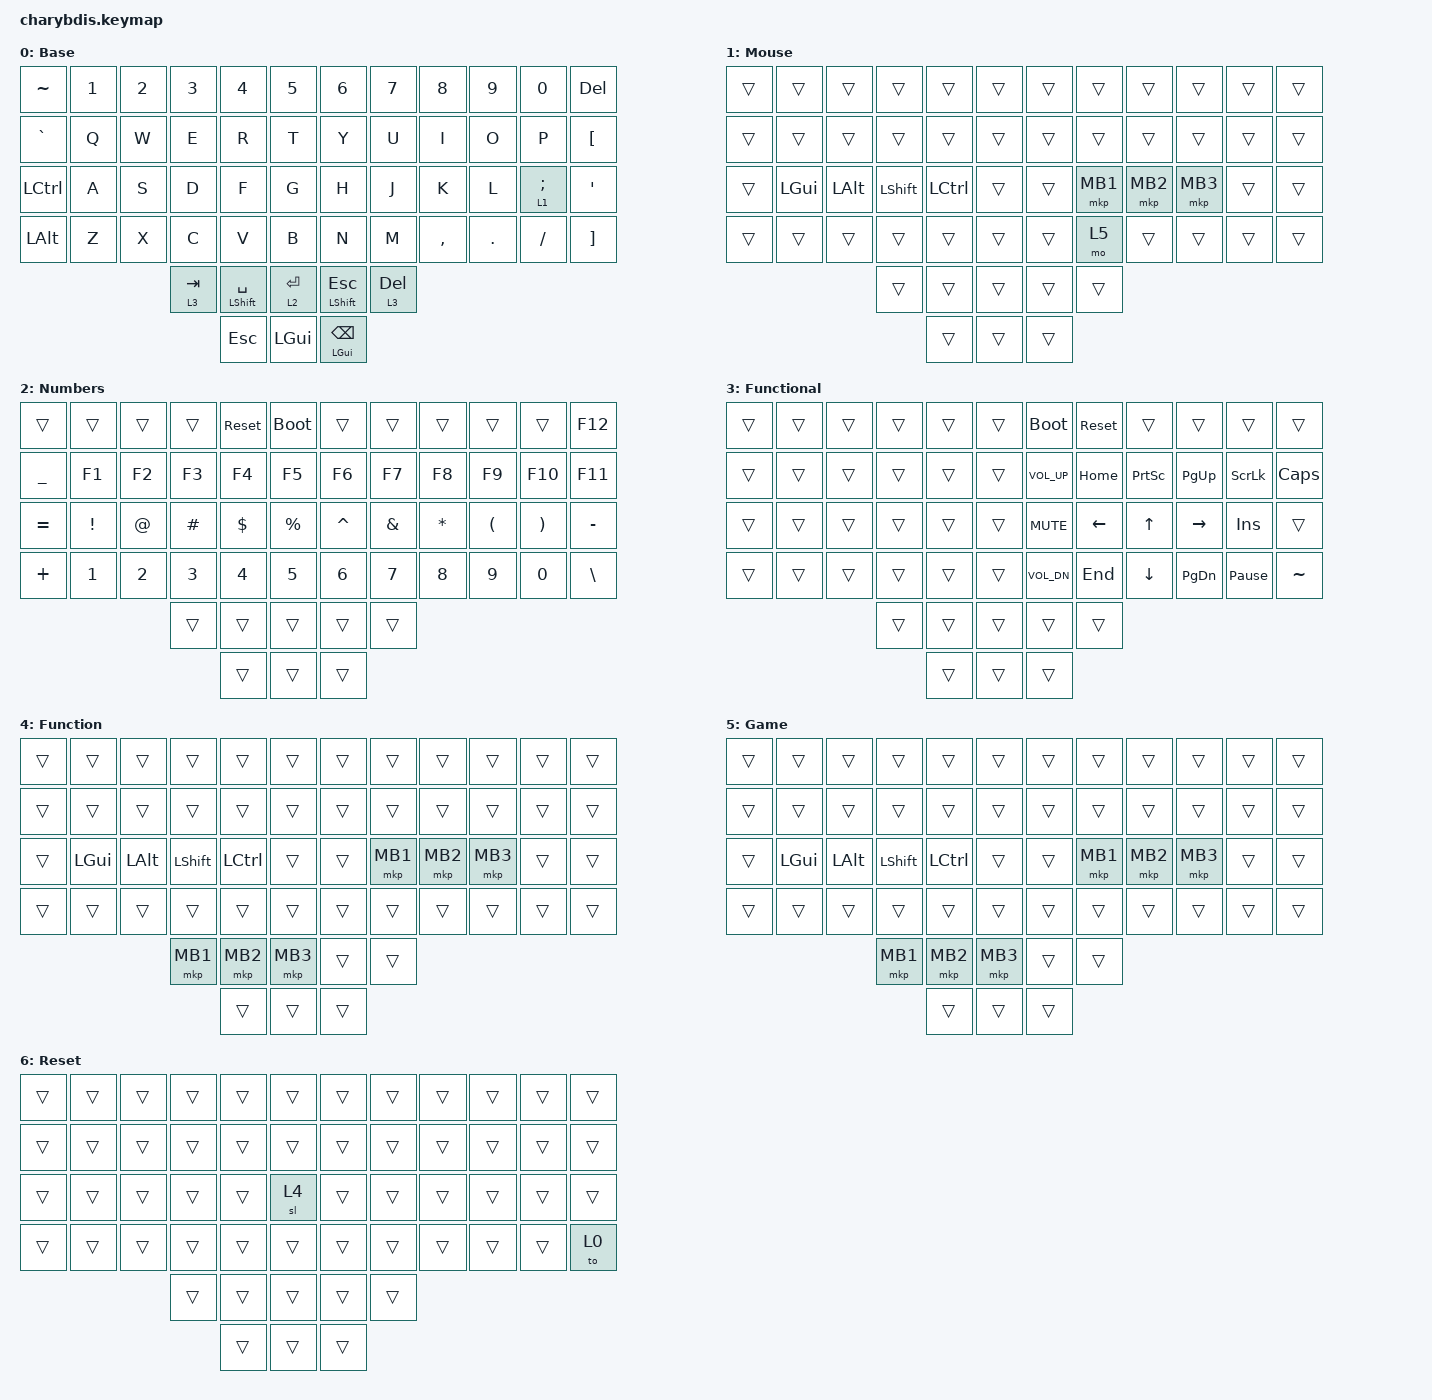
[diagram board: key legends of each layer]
#include <behaviors.dtsi>
#include <dt-bindings/zmk/keys.h>
#include <dt-bindings/zmk/pointing.h>

#define BASE 0
#define MOUSE 1
#define SYMBOL 2
#define NUMBER 3
#define FUNCTION 4
#define GAME 5
#define RESET 6

#define KEYS_L 0 1 2 3 4 10 11 12 13 14 20 21 22 23 24  
#define KEYS_R 5 6 7 8 9 15 16 17 18 19 25 26 27 28 29
#define THUMBS 30 31 32 33 34 35  

&sk {
  release-after-ms = <600>;
  quick-release;
};

&sl {
  ignore-modifiers;
};

&mt {
  flavor = "tap-preferred";
};

&lt {
  flavor = "balanced";
  tapping-term-ms = <200>;
  quick-tap-ms = <175>;
};

&caps_word {
  /delete-property/ ignore-modifiers;
};

/ {
  behaviors {
    hml: hml {
      compatible = "zmk,behavior-hold-tap";
      #binding-cells = <2>;
      flavor = "balanced";
      tapping-term-ms = <2000>;
      quick-tap-ms = <175>;
      require-prior-idle-ms = <250>;
      hold-trigger-key-positions = <KEYS_R THUMBS>;
      hold-trigger-on-release;
      bindings =
        <&kp>,
        <&kp>;
    };

    hmr: hmr {
      compatible = "zmk,behavior-hold-tap";
      #binding-cells = <2>;
      flavor = "balanced";
      tapping-term-ms = <2000>;
      quick-tap-ms = <175>;
      require-prior-idle-ms = <250>;
      hold-trigger-key-positions = <KEYS_L THUMBS>;
      hold-trigger-on-release;
      bindings =
        <&kp>,
        <&kp>;
    };
    hml_s: hml_s {
      compatible = "zmk,behavior-hold-tap";
      #binding-cells = <2>;
      flavor = "balanced";
      tapping-term-ms = <2000>;
      quick-tap-ms = <175>;
      require-prior-idle-ms = <0>;
      hold-trigger-key-positions = <KEYS_R THUMBS>;
      hold-trigger-on-release;
      bindings =
        <&kp>,
        <&kp>;
    };

    hmr_s: hmr_s {
      compatible = "zmk,behavior-hold-tap";
      #binding-cells = <2>;
      flavor = "balanced";
      tapping-term-ms = <2000>;
      quick-tap-ms = <175>;
      require-prior-idle-ms = <0>;
      hold-trigger-key-positions = <KEYS_L THUMBS>;
      hold-trigger-on-release;
      bindings =
        <&kp>,
        <&kp>;
    };


    smart_shift: smart_shift {
      compatible = "zmk,behavior-mod-morph";
      #binding-cells = <0>;
      bindings = <&sk LSHIFT>, <&caps_word>;
      mods = <(MOD_LSFT)>;
    };
  };

  combos {
    compatible = "zmk,combos";
    timeout-ms = <20>;
    require-prior-idle-ms = <250>;

    combo_reset_layer_left {
      key-positions = <20 24>;
      bindings = <&to RESET>;
    };
    combo_reset_layer_right {
      key-positions = <25 29>;
      bindings = <&to RESET>;
    };
    combo_reset_central {
      key-positions = <32 33>;
      bindings = <&bootloader>;
      require-prior-idle-ms = <2000>;
    };
    combo_normal {
      key-positions = <7 8>;
      bindings = <&to BASE>;
    };
    combo_fn {
      key-positions = <27 28>;
      bindings = <&sl FUNCTION>;
    };
    combo_genshin {
      key-positions = <5 9>;
      bindings = <&to GAME>;
    };
    combo_esc {
      key-positions = <1 2>;
      bindings = <&kp ESCAPE>;
    };
    combo_tab {
      key-positions = <2 3>;
      bindings = <&kp TAB>;
    };
    combo_cdel {
      key-positions = <11 12>;
      bindings = <&kp LC(BACKSPACE)>;
    };
    combo_unlock {
      key-positions = <0 4>;
      bindings = <&studio_unlock>;
    };
  };
  chosen {
    zmk,physical-layout = &charybdis_6col_layout;
  };

  keymap {
    compatible = "zmk,keymap";

    Base {
        label = "Base";
        display-name = "Base";
        bindings = <
               &kp TILDE     &kp N1         &kp N2        &kp N3        &kp N4              &kp N5            &kp N6             &kp N7        &kp N8        &kp N9        &kp N0     &kp DEL
               &kp GRAVE     &kp Q          &kp W         &kp E         &kp R               &kp T             &kp Y              &kp U         &kp I         &kp O         &kp P      &kp LEFT_BRACKET
               &kp LCTRL     &kp A          &kp S         &kp D         &kp F               &kp G             &kp H              &kp J         &kp K         &kp L         &lt 1 SEMI &kp APOS
               &kp LEFT_ALT  &kp Z          &kp X         &kp C         &kp V               &kp B             &kp N              &kp M      &kp COMMA      &kp DOT         &kp FSLH   &kp RIGHT_BRACKET
                                                          &lt 3 TAB     &mt LSHIFT SPACE    &lt 2 ENTER       &mt LSHIFT ESC     &lt 3 DEL 
                                                                        &kp ESC              &kp LGUI          &mt LGUI BSPC
        >;
    };

    Mouse {
      label = "Mouse";
      display-name = "Mouse";
      bindings = <
        &trans   &trans   &trans   &trans    &trans    &trans            &trans &trans   &trans   &trans   &trans     &trans
        &trans   &trans   &trans   &trans    &trans    &trans            &trans &trans   &trans   &trans   &trans     &trans 
        &trans   &kp LGUI &kp LALT &kp LSHFT &kp LCTRL &trans            &trans &mkp MB1 &mkp MB2 &mkp MB3 &trans     &trans
        &trans   &trans   &trans   &trans     &trans     &trans          &trans &mo 5   &trans   &trans   &trans     &trans
                          &trans  &trans  &trans          &trans &trans
                          &trans &trans                         &trans
      >;
    };

    Numbers {
      label = "Numbers";
      display-name = "Numbers";
      bindings = <
            &trans         &trans       &trans         &trans      &sys_reset   &bootloader         &trans       &trans         &trans        &trans        &trans        &kp F12
            &kp UNDERSCORE   &kp F1        &kp F2        &kp F3      &kp F4         &kp F5           &kp F6       &kp F7         &kp F8        &kp F9         &kp F10        &kp F11
            &kp EQUAL &kp EXCL      &kp AT       &kp HASH    &kp DOLLAR  &kp PERCENT        &kp CARET       &kp AMPS       &kp STAR     &kp LPAR        &kp RPAR   &kp MINUS
            &kp PLUS    &kp N1        &kp N2         &kp N3      &kp N4      &kp N5          &kp N6       &kp N7         &kp N8        &kp N9       &kp N0        &kp BSLH
                                                        &trans       &trans        &trans            &trans        &trans    
                                                                     &trans        &trans            &trans
      >;
    };

    Functional {
      label = "Functional";
      display-name = "Functional";
      bindings = <
             &trans        &trans         &trans       &trans         &trans       &trans          &bootloader    &sys_reset     &trans        &trans        &trans        &trans
             &trans        &trans         &trans       &trans         &trans        &trans         &kp C_VOL_UP   &kp HOME     &kp PRINTSCREEN &kp PAGE_UP &kp SCROLLLOCK &kp CAPSLOCK
             &trans        &trans         &trans       &trans         &trans       &trans           &kp C_MUTE    &kp LEFT      &kp UP        &kp RIGHT    &kp INSERT        &trans
             &trans        &trans        &trans        &trans          &trans       &trans           &kp C_VOL_DN   &kp END     &kp DOWN      &kp PAGE_DOWN  &kp PAUSE_BREAK      &kp TILDE
                                                        &trans        &trans       &trans            &trans        &trans
                                                                      &trans       &trans            &trans
      >;
    };

    Fun {
      label = "Function";
      display-name = "Function";
      bindings = <
        &trans   &trans   &trans   &trans    &trans    &trans            &trans &trans   &trans   &trans   &trans     &trans
        &trans   &trans   &trans   &trans    &trans    &trans            &trans &trans   &trans   &trans   &trans     &trans 
        &trans   &kp LGUI &kp LALT &kp LSHFT &kp LCTRL &trans            &trans &mkp MB1 &mkp MB2 &mkp MB3 &trans     &trans
        &trans   &trans   &trans   &trans   &trans     &trans            &trans &trans   &trans   &trans   &trans     &trans
                          &mkp MB1  &mkp MB2  &mkp MB3          &trans &trans
                          &trans &trans &trans
      >;
    };

    Button {
      label = "Game";
      display-name = "Game";
      bindings = <
        &trans   &trans   &trans   &trans    &trans    &trans            &trans &trans   &trans   &trans   &trans     &trans
        &trans   &trans   &trans   &trans    &trans    &trans            &trans &trans   &trans   &trans   &trans     &trans 
        &trans   &kp LGUI &kp LALT &kp LSHFT &kp LCTRL &trans            &trans &mkp MB1 &mkp MB2 &mkp MB3 &trans     &trans
        &trans   &trans   &trans   &trans   &trans     &trans            &trans &trans   &trans   &trans   &trans     &trans
                          &mkp MB1  &mkp MB2  &mkp MB3          &trans &trans
                          &trans &trans &trans
      >;
    };

    Reset {
      label = "Reset";
      display-name = "Reset";
      bindings = <
      // ╭─────────────┬─────────────┬─────────────┬─────────────┬─────────────┬─────────────╮   ╭─────────────┬─────────────┬─────────────┬─────────────┬─────────────┬─────────────╮
             &trans        &trans         &trans       &trans         &trans       &trans           &trans         &trans         &trans        &trans        &trans        &trans
      // ├─────────────┼─────────────┼─────────────┼─────────────┼─────────────┼─────────────┤   ├─────────────┼─────────────┼─────────────┼─────────────┼─────────────┼─────────────┤
             &trans        &trans         &trans       &trans         &trans       &trans           &trans         &trans         &trans        &trans        &trans        &trans
      // ├─────────────┼─────────────┼─────────────┼─────────────┼─────────────┼─────────────┤   ├─────────────┼─────────────┼─────────────┼─────────────┼─────────────┼─────────────┤
             &trans        &trans         &trans       &trans         &trans        &sl 4           &trans         &trans         &trans        &trans        &trans        &trans
      // ├─────────────┼─────────────┼─────────────┼─────────────┼─────────────┼─────────────┤   ├─────────────┼─────────────┼─────────────┼─────────────┼─────────────┼─────────────┤
             &trans        &trans         &trans       &trans         &trans       &trans           &trans         &trans         &trans        &trans        &trans        &to 0
      // ╰─────────────┴─────────────┼─────────────┼─────────────┼─────────────┼─────────────┤   ├─────────────┼─────────────┼─────────────┼─────────────┼─────────────┴─────────────╯
                                                        &trans       &trans         &trans            &trans        &trans    
      //                                           ╰─────────────┤─────────────┤─────────────┤   ├─────────────┼─────────────╯
                                                                      &trans        &trans            &trans
      //                                                         ╰─────────────┴─────────────╯   ╰─────────────╯
      >;
    };
  };
};











